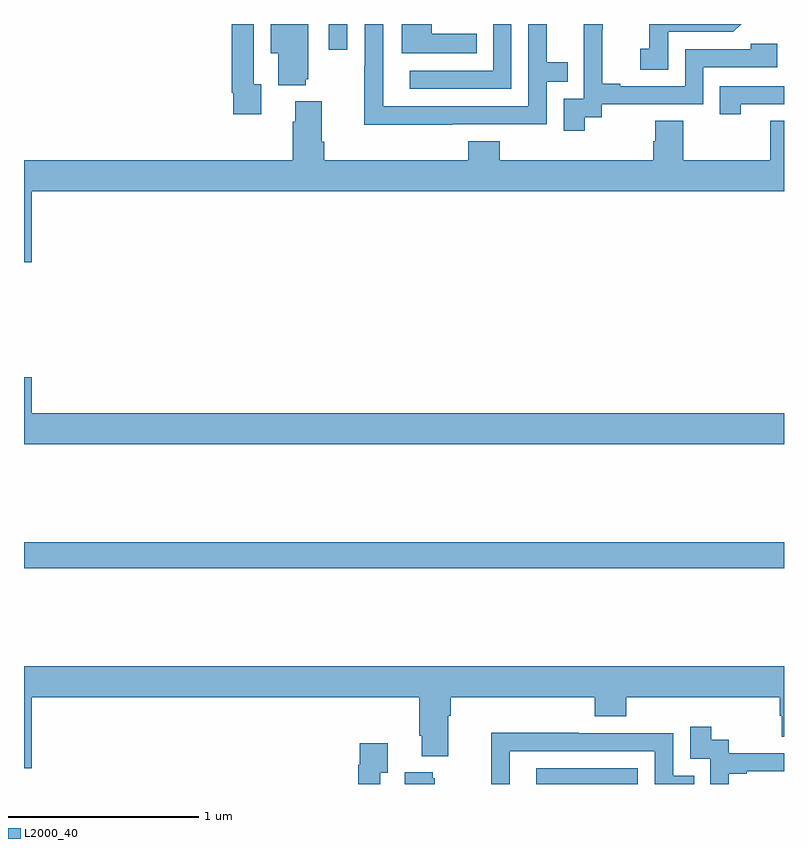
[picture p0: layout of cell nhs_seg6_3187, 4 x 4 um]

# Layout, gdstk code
import gdstk
lib = gdstk.Library(unit=1e-6, precision=1e-09)
def R(c, l, rs):  # rectangles x0, y0, x1, y1
    for r in rs: c.add(gdstk.rectangle(r[:2], r[2:], *l))
def P(c, l, *ps):  # polygons
    for p in ps: c.add(gdstk.Polygon(p, *l))
L2000_40 = (2000, 40)

nhs_seg6_3187 = lib.new_cell('nhs_seg6_3187')
R(nhs_seg6_3187, L2000_40, [(299.697,993.5,300.231,993.582), (297,994.636,301,994.772), (298.605,997.365,298.701,997.5)])
P(nhs_seg6_3187, L2000_40, [(299.255,996.972),(299.751,996.972),(299.751,997.197),(299.861,997.197),(299.861,997.298),(299.751,997.298),(299.751,997.5),(299.655,997.5),(299.655,997.068),(298.891,997.068),(298.891,997.307),(298.89,997.307),(298.89,997.5),(298.794,997.5),(298.794,997.277),(298.792,997.277),(298.792,996.971),(299.255,996.971)],
  [(299.384,997.45),(299.145,997.45),(299.145,997.5),(298.988,997.5),(298.988,997.346),(299.384,997.346)],
  [(298.484,997.209),(298.495,997.209),(298.495,997.5),(298.298,997.5),(298.298,997.346),(298.337,997.346),(298.337,997.178),(298.484,997.178)],
  [(298.249,997.182),(298.209,997.182),(298.209,997.5),(298.093,997.5),(298.093,997.138),(298.101,997.138),(298.101,997.026),(298.249,997.026)],
  [(299.565,997.5),(299.469,997.5),(299.469,997.254),(299.031,997.254),(299.031,997.158),(299.565,997.158)],
  [(299.95,997.009),(300.042,997.009),(300.042,997.077),(300.576,997.077),(300.576,997.272),(300.965,997.272),(300.965,997.395),(300.825,997.395),(300.825,997.368),(300.48,997.368),(300.48,997.173),(300.139,997.173),(300.139,997.186),(300.044,997.186),(300.044,997.469),(300.045,997.469),(300.045,997.5),(299.945,997.5),(299.945,997.337),(299.946,997.337),(299.946,997.107),(299.841,997.107),(299.841,996.939),(299.95,996.939)],
  [(300.39,997.458),(300.732,997.458),(300.774,997.5),(300.292,997.5),(300.292,997.369),(300.243,997.369),(300.243,997.26),(300.39,997.26)],
  [(300.772,997.077),(301,997.077),(301,997.173),(300.661,997.173),(300.661,997.026),(300.772,997.026)],
  [(297.04,996.62),(301,996.62),(301,996.992),(300.928,996.992),(300.928,996.784),(300.471,996.784),(300.471,996.992),(300.323,996.992),(300.323,996.882),(300.311,996.882),(300.311,996.784),(299.504,996.784),(299.504,996.883),(299.339,996.883),(299.339,996.784),(298.58,996.784),(298.58,996.88),(298.567,996.88),(298.567,997.093),(298.427,997.093),(298.427,996.986),(298.415,996.986),(298.415,996.784),(297,996.784),(297,996.246),(297.04,996.246)],
  [(301,995.452),(297.04,995.452),(297.04,995.641),(297,995.641),(297,995.288),(301,995.288)],
  [(297.04,993.956),(299.081,993.956),(299.081,993.754),(299.093,993.754),(299.093,993.647),(299.233,993.647),(299.233,993.86),(299.246,993.86),(299.246,993.956),(300.005,993.956),(300.005,993.857),(300.17,993.857),(300.17,993.956),(300.977,993.956),(300.977,993.858),(300.989,993.858),(300.989,993.748),(301,993.748),(301,994.12),(297,994.12),(297,993.582),(297.04,993.582)],
  [(300.71,993.555),(300.805,993.555),(300.805,993.567),(301,993.567),(301,993.663),(300.708,993.663),(300.708,993.732),(300.616,993.732),(300.616,993.802),(300.507,993.802),(300.507,993.633),(300.612,993.633),(300.612,993.5),(300.71,993.5)],
  [(299.557,993.672),(300.321,993.672),(300.321,993.5),(300.527,993.5),(300.527,993.543),(300.417,993.543),(300.417,993.768),(299.921,993.768),(299.921,993.77),(299.458,993.77),(299.458,993.5),(299.557,993.5)],
  [(298.875,993.559),(298.915,993.559),(298.915,993.715),(298.767,993.715),(298.767,993.602),(298.759,993.602),(298.759,993.5),(298.875,993.5)],
  [(299.161,993.531),(299.15,993.531),(299.15,993.562),(299.003,993.562),(299.003,993.5),(299.161,993.5)])

lib.write_gds('nhs_seg6_3187.gds')
